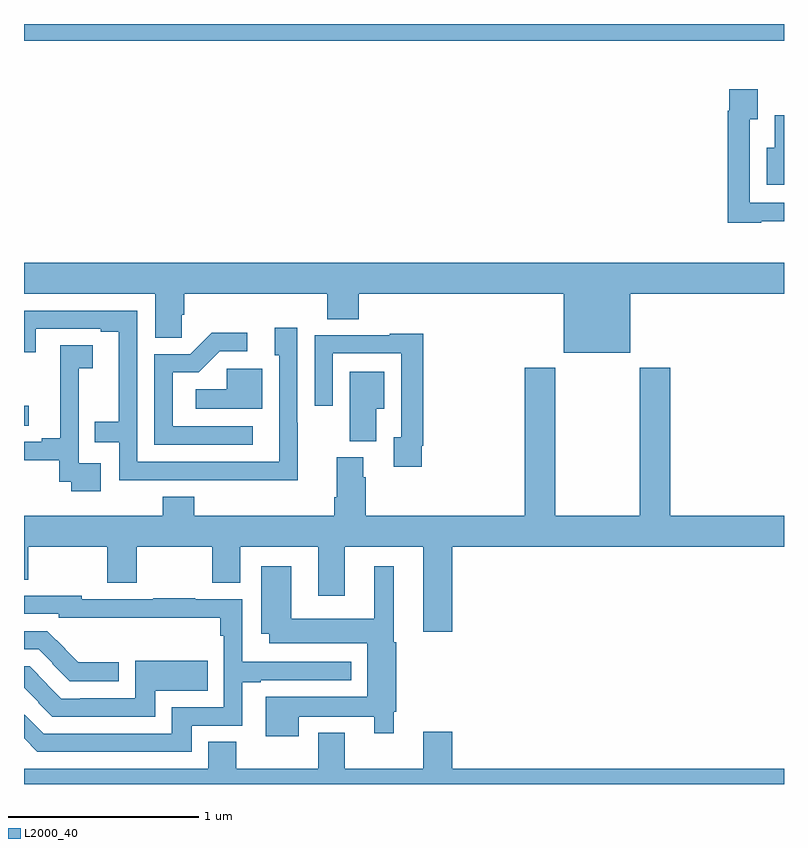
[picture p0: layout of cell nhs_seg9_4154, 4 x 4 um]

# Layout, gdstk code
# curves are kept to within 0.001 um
import gdstk
lib = gdstk.Library(unit=1e-6, precision=1e-09)
def R(c, l, rs):  # rectangles x0, y0, x1, y1
    for r in rs: c.add(gdstk.rectangle(r[:2], r[2:], *l))
def P(c, l, *ps):  # polygons
    for p in ps: c.add(gdstk.Polygon(p, *l))
L2000_40 = (2000, 40)

nhs_seg9_4154 = lib.new_cell('nhs_seg9_4154')
R(nhs_seg9_4154, L2000_40, [(349,1202.386,349.024,1202.49), (349,1204.412,353,1204.5)])
P(nhs_seg9_4154, L2000_40, [(352.881,1203.462),(353,1203.462),(353,1203.558),(352.821,1203.558),(352.821,1204),(352.861,1204),(352.861,1204.156),(352.713,1204.156),(352.713,1204.043),(352.705,1204.043),(352.705,1203.455),(352.881,1203.455)],
  [(353,1204.02),(352.952,1204.02),(352.952,1203.85),(352.91,1203.85),(352.91,1203.653),(353,1203.653)],
  [(352.192,1203.08),(353,1203.08),(353,1203.244),(349,1203.244),(349,1203.08),(349.691,1203.08),(349.691,1202.848),(349.83,1202.848),(349.83,1202.971),(349.844,1202.971),(349.844,1203.08),(350.597,1203.08),(350.597,1202.947),(350.762,1202.947),(350.762,1203.08),(351.842,1203.08),(351.842,1202.771),(352.192,1202.771)],
  [(350.441,1202.402),(350.439,1202.402),(350.439,1202.902),(350.321,1202.902),(350.321,1202.757),(350.343,1202.757),(350.343,1202.196),(349.596,1202.196),(349.596,1202.991),(349,1202.991),(349,1202.772),(349.062,1202.772),(349.062,1202.895),(349.403,1202.895),(349.403,1202.88),(349.499,1202.88),(349.499,1202.407),(349.372,1202.407),(349.372,1202.298),(349.5,1202.298),(349.5,1202.1),(349.978,1202.1),(349.978,1202.099),(350.441,1202.099)],
  [(350.203,1202.382),(349.782,1202.382),(349.782,1202.667),(349.92,1202.667),(350.031,1202.778),(350.176,1202.778),(350.176,1202.876),(349.988,1202.876),(349.875,1202.763),(349.686,1202.763),(349.686,1202.286),(350.203,1202.286)],
  [(351.094,1202.281),(351.101,1202.281),(351.101,1202.869),(350.925,1202.869),(350.925,1202.862),(350.529,1202.862),(350.529,1202.49),(350.625,1202.49),(350.625,1202.766),(350.985,1202.766),(350.985,1202.325),(350.945,1202.325),(350.945,1202.169),(351.094,1202.169)],
  [(349.405,1202.187),(349.287,1202.187),(349.287,1202.491),(349.289,1202.491),(349.289,1202.689),(349.363,1202.689),(349.363,1202.81),(349.192,1202.81),(349.192,1202.699),(349.19,1202.699),(349.19,1202.321),(349.094,1202.321),(349.094,1202.301),(349,1202.301),(349,1202.205),(349.186,1202.205),(349.186,1202.091),(349.249,1202.091),(349.249,1202.04),(349.405,1202.04)],
  [(351.254,1201.748),(353,1201.748),(353,1201.912),(352.4,1201.912),(352.4,1202.692),(352.24,1202.692),(352.24,1201.912),(351.795,1201.912),(351.795,1202.692),(351.635,1202.692),(351.635,1201.912),(350.798,1201.912),(350.798,1202.114),(350.785,1202.114),(350.785,1202.22),(350.645,1202.22),(350.645,1202.008),(350.633,1202.008),(350.633,1201.912),(349.895,1201.912),(349.895,1202.011),(349.73,1202.011),(349.73,1201.912),(349,1201.912),(349,1201.576),(349.023,1201.576),(349.023,1201.748),(349.438,1201.748),(349.438,1201.558),(349.593,1201.558),(349.593,1201.748),(349.99,1201.748),(349.99,1201.558),(350.137,1201.558),(350.137,1201.748),(350.549,1201.748),(350.549,1201.491),(350.689,1201.491),(350.689,1201.748),(351.101,1201.748),(351.101,1201.302),(351.254,1201.302)],
  [(350.254,1202.685),(350.067,1202.685),(350.067,1202.578),(349.905,1202.578),(349.905,1202.474),(350.254,1202.474)],
  [(350.854,1202.474),(350.896,1202.474),(350.896,1202.671),(350.714,1202.671),(350.714,1202.305),(350.854,1202.305)],
  [(350.446,1200.854),(350.843,1200.854),(350.843,1200.768),(350.947,1200.768),(350.947,1200.88),(350.96,1200.88),(350.96,1201.245),(350.947,1201.245),(350.947,1201.645),(350.843,1201.645),(350.843,1201.369),(350.407,1201.369),(350.407,1201.645),(350.249,1201.645),(350.249,1201.292),(350.291,1201.292),(350.291,1201.241),(350.807,1201.241),(350.807,1200.958),(350.273,1200.958),(350.273,1200.752),(350.446,1200.752)],
  [(349.882,1200.807),(350.148,1200.807),(350.148,1201.035),(350.245,1201.035),(350.245,1201.047),(350.722,1201.047),(350.722,1201.143),(350.149,1201.143),(350.148,1201.473),(349.901,1201.473),(349.901,1201.478),(349.681,1201.478),(349.681,1201.473),(349.305,1201.473),(349.305,1201.491),(349,1201.491),(349,1201.395),(349.182,1201.395),(349.182,1201.375),(350.032,1201.375),(350.032,1201.28),(350.052,1201.28),(350.052,1200.903),(349.778,1200.903),(349.778,1200.765),(349.104,1200.765),(349.005,1200.864),(349,1200.864),(349,1200.74),(349.071,1200.669),(349.882,1200.669)],
  [(349.498,1201.14),(349.286,1201.14),(349.215,1201.211),(349.216,1201.212),(349.123,1201.305),(349,1201.305),(349,1201.209),(349.077,1201.209),(349.15,1201.136),(349.148,1201.134),(349.241,1201.041),(349.498,1201.041)],
  [(349.69,1200.992),(349.967,1200.992),(349.967,1201.15),(349.586,1201.15),(349.586,1200.951),(349.297,1200.951),(349.297,1200.948),(349.197,1200.948),(349.121,1201.024),(349.123,1201.026),(349.03,1201.119),(349,1201.119),(349,1201.007),(349.077,1200.93),(349.075,1200.928),(349.148,1200.855),(349.69,1200.855)],
  [(353,1200.58),(351.254,1200.58),(351.254,1200.775),(351.101,1200.775),(351.101,1200.58),(350.689,1200.58),(350.689,1200.769),(350.549,1200.769),(350.549,1200.58),(350.118,1200.58),(350.118,1200.722),(349.97,1200.722),(349.97,1200.58),(349,1200.58),(349,1200.5),(353,1200.5)])

lib.write_gds('nhs_seg9_4154.gds')
